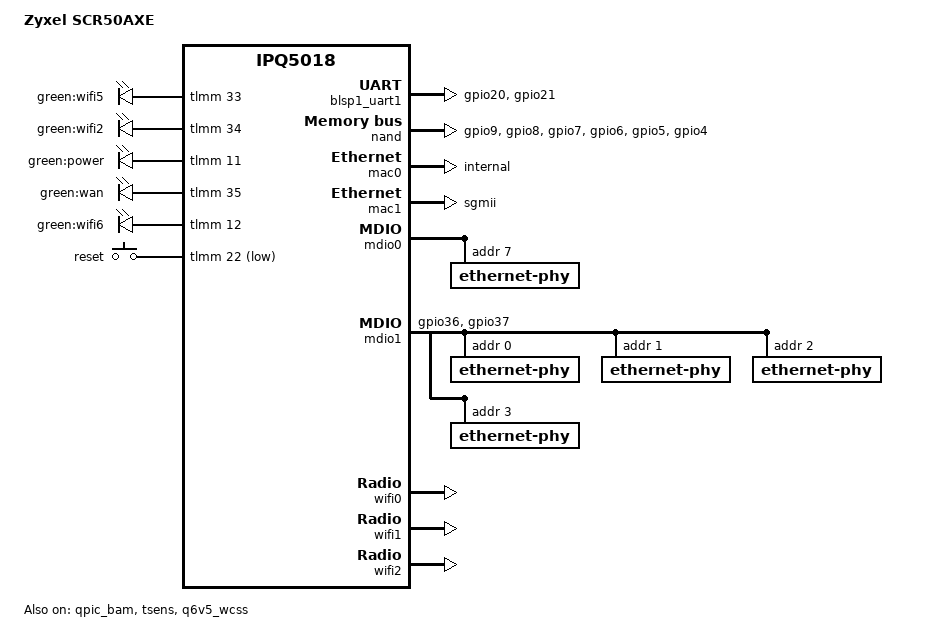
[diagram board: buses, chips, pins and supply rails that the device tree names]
// SPDX-License-Identifier: (GPL-2.0+)

/dts-v1/;

#include "ipq5018.dtsi"

/ {
	model = "Zyxel SCR50AXE";
	compatible = "zyxel,scr50axe", "qcom,ipq5018";

	#address-cells = <2>;
	#size-cells = <2>;
	interrupt-parent = <&intc>;

	aliases {
		serial0 = &blsp1_uart1;

		ethernet0 = &mac0;
		ethernet1 = &mac1;

		led-boot = &led_power_green;
		led-failsafe = &led_power_green;
		led-running = &led_power_green;
		led-upgrade = &led_power_green;
	};

	chosen {
		// Override the root parameter from u-boot
		// Increase coherent_pool size for WiFi
		bootargs-append = " root=/dev/ubiblock0_1 coherent_pool=2M";
		stdout-path = "serial0:115200n8";
	};

	reserved-memory {
		q6_mem_regions: q6_mem_regions@4B000000 {
			no-map;
			reg = <0x0 0x4B000000 0x0 0x5400000>;
		};

		q6_code_data: q6_code_data@4B000000 {
			no-map;
			reg = <0x0 0x4B000000 0x0 01400000>;
		};

		q6_ipq5018_data: q6_ipq5018_data@4C400000 {
			no-map;
			reg = <0x0 0x4C400000 0x0 0xE00000>;
		};

		m3_dump: m3_dump@4D200000 {
			no-map;
			reg = <0x0 0x4D200000 0x0 0x100000>;
		};

		q6_etr_region: q6_etr_dump@4D300000 {
			no-map;
			reg = <0x0 0x4D300000 0x0 0x100000>;
		};

		q6_caldb_region: q6_caldb_region@4D400000 {
			no-map;
			reg = <0x0 0x4D400000 0x0 0x200000>;
		};

		q6_qcn6122_data1: q6_qcn6122_data1@4D600000 {
			no-map;
			reg = <0x0 0x4D600000 0x0 0x1000000>;
		};

		m3_dump_qcn6122_1: m3_dump_qcn6122_1@4E600000 {
			no-map;
			reg = <0x0 0x4E600000 0x0 0x100000>;
		};

		q6_qcn6122_etr_1: q6_qcn6122_etr_1@4E700000 {
			no-map;
			reg = <0x0 0x4E700000 0x0 0x100000>;
		};

		q6_qcn6122_caldb_1: q6_qcn6122_caldb_1@4E800000 {
			no-map;
			reg = <0x0 0x4E800000 0x0 0x500000>;
		};

		q6_qcn6122_data2: q6_qcn6122_data2@4E900000 {
			no-map;
			reg = <0x0 0x4ED00000 0x0 0x1000000>;
		};

		m3_dump_qcn6122_2: m3_dump_qcn6122_2@4FD00000 {
			no-map;
			reg = <0x0 0x4FD00000 0x0 0x100000>;
		};

		q6_qcn6122_etr_2: q6_qcn6122_etr_2@4FE00000 {
			no-map;
			reg = <0x0 0x4FE00000 0x0 0x100000>;
		};

		q6_qcn6122_caldb_2: q6_qcn6122_caldb_2@4FF00000 {
			no-map;
			reg = <0x0 0x4FF00000 0x0 0x500000>;
		};
	};

	thermal-zones {
		status = "ok";
	};
};

&tmc_etr {
	/delete-property/ memory-region;
};

&tlmm {
	blsp_uart0_pins: blsp_uart0_pins {
		pins =
			"gpio20", // RX
			"gpio21"; // TX
		function = "blsp0_uart1";
		drive-strength = <8>;
		bias-disable;
	};

	qspi_nand_pins: qspi_nand_pins {
		clock {
			pins = "gpio9";
			function = "qspi_clk";
			drive-strength = <8>;
			bias-disable;
		};

		cs {
			pins = "gpio8";
			function = "qspi_cs";
			drive-strength = <8>;
			bias-disable;
		};

		data {
			pins = "gpio7", "gpio6", "gpio5", "gpio4";
			function = "qspi_data";
			drive-strength = <8>;
			bias-disable;
		};
	};

	mdio1_pins: mdio1_pins {
		mdc {
			pins = "gpio36";
			function = "mdc";
			drive-strength = <8>;
			bias-pull-up;
		};

		mdio {
			pins = "gpio37";
			function = "mdio";
			drive-strength = <8>;
			bias-pull-up;
		};
	};

	leds_pins: leds_pins {
		led_5g {
			pins = "gpio33";
			function = "gpio";
			drive-strength = <8>;
			bias-pull-down;
		};
		led_2g {
			pins = "gpio34";
			function = "gpio";
			drive-strength = <8>;
			bias-pull-down;
		};
		led_power {
			pins = "gpio11";
			function = "gpio";
			drive-strength = <8>;
			bias-pull-down;
		};
		led_6g {
			pins = "gpio12";
			function = "gpio";
			drive-strength = <8>;
			bias-pull-down;
		};
		led_wan {
			pins = "gpio35";
			function = "gpio";
			drive-strength = <8>;
			bias-pull-down;
		};
	};

	button_pins: button_pins {
		button_reset {
			pins = "gpio22";
			function = "gpio";
			drive-strength = <8>;
			bias-pull-up;
		};
	};
};

&blsp1_uart1 {
	pinctrl-0 = <&blsp_uart0_pins>;
	pinctrl-names = "default";
	status = "ok";
};

&qpic_bam {
	status = "ok";
};

&nand {
	pinctrl-0 = <&qspi_nand_pins>;
	pinctrl-names = "default";
	status = "ok";
};

&tsens {
	status = "ok";
};

&soc {
	leds {
		compatible = "gpio-leds";
		pinctrl-0 = <&leds_pins>;
		pinctrl-names = "default";

		led@33 {
			label = "green:wifi5";
			gpios = <&tlmm 33 GPIO_ACTIVE_HIGH>;
		};

		led@34 {
			label = "green:wifi2";
			gpios = <&tlmm 34 GPIO_ACTIVE_HIGH>;
		};

		led_power_green: led_power_green {
			label = "green:power";
			gpios = <&tlmm 11 GPIO_ACTIVE_HIGH>;
		};

		led@35 {
			label = "green:wan";
			gpios = <&tlmm 35 GPIO_ACTIVE_HIGH>;
		};

		led@12 {
			label = "green:wifi6";
			gpios = <&tlmm 12 GPIO_ACTIVE_HIGH>;
			default-state = "off";
		};
	};

	button {
		compatible = "gpio-keys";
		pinctrl-0 = <&button_pins>;
		pinctrl-names = "default";

		button_reset {
			label = "reset";
			gpios = <&tlmm 22 GPIO_ACTIVE_LOW>;
			linux,input-type = <EV_KEY>;
			linux,code = <KEY_RESTART>;
			debounce-interval = <60>;
		};
	};

	ess-instance {
		num_devices = <0x2>;
		ess-switch@0x39c00000 {
			compatible = "qcom,ess-switch-ipq50xx";
			device_id = <0>;
			switch_mac_mode = <0xf>; /* mac mode for uniphy instance*/
			cmnblk_clk = "internal_96MHz"; /* cmnblk clk*/
			qcom,port_phyinfo {
				port@0 {
					port_id = <1>;
					phy_address = <7>;
				};
				port@1 {
					port_id = <2>;
					forced-speed = <1000>;
					forced-duplex = <1>;
				};
			};
		};
		ess-switch1@1 {
			compatible = "qcom,ess-switch-qca83xx";
			device_id = <1>;
			switch_access_mode = "mdio";
			mdio-bus = <&mdio1>;
			reset_gpio = <&tlmm 0x27 0>;
			switch_cpu_bmp = <0x40>;  /* cpu port bitmap */
			switch_lan_bmp = <0x1e>; /* lan port bitmap */
			switch_wan_bmp = <0x0>;  /* wan port bitmap */
			qca,ar8327-initvals = <
					0x00004 0x7600000   /* PAD0_MODE */
					0x00008 0x1000000   /* PAD5_MODE */
					0x0000c 0x80	/* PAD6_MODE */
					0x00010 0x2613a0    /* PORT6 FORCE MODE*/
					0x000e4 0xaa545     /* MAC_POWER_SEL */
					0x000e0 0xc74164de  /* SGMII_CTRL */
					0x0007c 0x4e	/* PORT0_STATUS */
					0x00094 0x4e	/* PORT6_STATUS */
			>;
			qcom,port_phyinfo {
				port@0 {
					port_id = <1>;
					phy_address = <0>;
				};
				port@1 {
					port_id = <2>;
					phy_address = <1>;
				};
				port@2 {
					port_id = <3>;
					phy_address = <2>;
				};
				port@3 {
					port_id = <4>;
					phy_address = <3>;
				};
			};
		};
	};

	// MAC0 -> GE Phy
	mac0: dp1 {
		compatible = "qcom,nss-dp";
		device_type = "network";
		qcom,id = <1>;

		reg = <0x39C00000 0x10000>;
		interrupts = <GIC_SPI 101 IRQ_TYPE_LEVEL_HIGH>;
		clocks = <&gcc GCC_SNOC_GMAC0_AXI_CLK>;
		clock-names = "nss-snoc-gmac-axi-clk";

		qcom,mactype = <2>; // GMAC_HAL_TYPE_SYN_GMAC
		local-mac-address = [000000000000];
		mdio-bus = <&mdio0>;
		qcom,phy-mdio-addr = <7>;
		phy-mode = "internal";
		qcom,link-poll = <1>;
	};

	// MAC1 ---SGMII---> QCA8337 SerDes
	mac1: dp2 {
		compatible = "qcom,nss-dp";
		device_type = "network";
		qcom,id = <2>;

		reg = <0x39D00000 0x10000>;
		interrupts = <GIC_SPI 109 IRQ_TYPE_LEVEL_HIGH>;
		clocks = <&gcc GCC_SNOC_GMAC1_AXI_CLK>;
		clock-names = "nss-snoc-gmac-axi-clk";

		qcom,mactype = <2>; // GMAC_HAL_TYPE_SYN_GMAC
		local-mac-address = [000000000000];
		phy-mode = "sgmii";
	};
};

&mdio0 {
	status = "ok";

	// IPQ5018 GE Phy -> QCA8337 Phy4
	ethernet-phy@0 {
		reg = <7>;
	};
};

&mdio1 {
	pinctrl-0 = <&mdio1_pins>;
	pinctrl-names = "default";
	phy-reset-gpio = <&tlmm 39 0>;
	status = "ok";

	// QCA8337 Phy0 -> LAN1
	ethernet-phy@0 {
		reg = <0>;
	};

	// QCA8337 Phy1 -> LAN2
	ethernet-phy@1 {
		reg = <1>;
	};

	// QCA8337 Phy2 -> LAN3
	ethernet-phy@2 {
		reg = <2>;
	};

	// QCA8337 Phy3 -> LAN4
	ethernet-phy@3 {
		reg = <3>;
	};
};

&q6v5_wcss {
	compatible = "qcom,ipq5018-q6-mpd";
	#address-cells = <1>;
	#size-cells = <1>;
	ranges;
	firmware = "IPQ5018/q6_fw.mdt";
	reg = <0x0cd00000 0x4040>,
		<0x1938000 0x8>,
		<0x193d204 0x4>;
	reg-names = "qdsp6",
			"tcsr-msip",
			"tcsr-q6";
	resets = <&gcc GCC_WCSSAON_RESET>,
			<&gcc GCC_WCSS_Q6_BCR>;

	reset-names = "wcss_aon_reset",
			"wcss_q6_reset";

	clocks = <&gcc GCC_Q6_AXIS_CLK>,
		<&gcc GCC_WCSS_ECAHB_CLK>,
		<&gcc GCC_Q6_AXIM_CLK>,
		<&gcc GCC_Q6_AXIM2_CLK>,
		<&gcc GCC_Q6_AHB_CLK>,
		<&gcc GCC_Q6_AHB_S_CLK>,
		<&gcc GCC_WCSS_AXI_S_CLK>;
	clock-names = "gcc_q6_axis_clk",
		"gcc_wcss_ecahb_clk",
		"gcc_q6_axim_clk",
		"gcc_q6_axim2_clk",
		"gcc_q6_ahb_clk",
		"gcc_q6_ahb_s_clk",
		"gcc_wcss_axi_s_clk";

	#ifdef __IPQ_MEM_PROFILE_256_MB__
		memory-region = <&q6_mem_regions>, <&q6_etr_region>;
	#else
		memory-region = <&q6_mem_regions>, <&q6_etr_region>,
				<&q6_caldb_region>;
	#endif

	qcom,rproc = <&q6v5_wcss>;
	qcom,bootargs_smem = <507>;
	boot-args = <0x1 0x4 0x3 0x0F 0x0 0x0>,
			<0x2 0x4 0x2 0x12 0x0 0x0>;
	status = "ok";
	q6_wcss_pd1: remoteproc_pd1@4ab000 {
		compatible = "qcom,ipq5018-wcss-ahb-mpd";
		reg = <0x4ab000 0x20>;
		reg-names = "rmb";
		firmware = "IPQ5018/q6_fw.mdt";
		m3_firmware = "IPQ5018/m3_fw.mdt";
		interrupts-extended = <&wcss_smp2p_in 8 0>,
					<&wcss_smp2p_in 9 0>,
					<&wcss_smp2p_in 12 0>,
					<&wcss_smp2p_in 11 0>;
		interrupt-names = "fatal",
					"ready",
					"spawn-ack",
					"stop-ack";

		resets = <&gcc GCC_WCSSAON_RESET>,
				<&gcc GCC_WCSS_BCR>,
				<&gcc GCC_CE_BCR>;
		reset-names = "wcss_aon_reset",
				"wcss_reset",
				"ce_reset";

		clocks = <&gcc GCC_WCSS_AHB_S_CLK>,
				<&gcc GCC_WCSS_ACMT_CLK>,
				<&gcc GCC_WCSS_AXI_M_CLK>;
		clock-names = "gcc_wcss_ahb_s_clk",
					"gcc_wcss_acmt_clk",
					"gcc_wcss_axi_m_clk";

		qcom,halt-regs = <&tcsr_q6_block 0xa000 0xd000 0x0>;

		qcom,smem-states = <&wcss_smp2p_out 8>,
					<&wcss_smp2p_out 9>,
					<&wcss_smp2p_out 10>;
		qcom,smem-state-names = "shutdown",
					"stop",
					"spawn";
	#ifdef __IPQ_MEM_PROFILE_256_MB__
		memory-region = <&q6_ipq5018_data>, <&m3_dump>,
				<&q6_etr_region>;
	#else
		memory-region = <&q6_ipq5018_data>, <&m3_dump>,
				<&q6_etr_region>, <&q6_caldb_region>;
	#endif

	};

	q6_wcss_pd2: remoteproc_pd2 {
		compatible = "qcom,ipq5018-wcss-pcie-mpd";
		firmware = "IPQ5018/q6_fw.mdt";
		m3_firmware = "qcn6122/m3_fw.mdt";
		interrupts-extended = <&wcss_smp2p_in 16 0>,
					<&wcss_smp2p_in 17 0>,
					<&wcss_smp2p_in 20 0>,
					<&wcss_smp2p_in 19 0>;
		interrupt-names = "fatal",
					"ready",
					"spawn-ack",
					"stop-ack";

		qcom,smem-states = <&wcss_smp2p_out 16>,
					<&wcss_smp2p_out 17>,
					<&wcss_smp2p_out 18>;
		qcom,smem-state-names = "shutdown",
					"stop",
					"spawn";
	#ifdef __IPQ_MEM_PROFILE_256_MB__
		memory-region = <&q6_qcn6122_data1>, <&m3_dump_qcn6122_1>,
				<&q6_qcn6122_etr_1>;
	#else
		memory-region = <&q6_qcn6122_data1>, <&m3_dump_qcn6122_1>,
				<&q6_qcn6122_etr_1>, <&q6_qcn6122_caldb_1>;
	#endif

	};

	q6_wcss_pd3: remoteproc_pd3 {
		compatible = "qcom,ipq5018-wcss-pcie-mpd";
		firmware = "IPQ5018/q6_fw.mdt";
		interrupts-extended = <&wcss_smp2p_in 24 0>,
					<&wcss_smp2p_in 25 0>,
					<&wcss_smp2p_in 28 0>,
					<&wcss_smp2p_in 27 0>;
		interrupt-names = "fatal",
					"ready",
					"spawn-ack",
					"stop-ack";

		qcom,smem-states = <&wcss_smp2p_out 24>,
					<&wcss_smp2p_out 25>,
					<&wcss_smp2p_out 26>;
		qcom,smem-state-names = "shutdown",
					"stop",
					"spawn";
	#ifdef	__IPQ_MEM_PROFILE_256_MB__
		memory-region = <&q6_qcn6122_data2>, <&m3_dump_qcn6122_2>,
				<&q6_qcn6122_etr_2>;
	#else
		memory-region = <&q6_qcn6122_data2>, <&m3_dump_qcn6122_2>,
				<&q6_qcn6122_etr_2>, <&q6_qcn6122_caldb_2>;
	#endif
	};
};

&wifi0 {
	/* IPQ5018 */
	qcom,multipd_arch;
	qcom,rproc = <&q6_wcss_pd1>;
	qcom,userpd-subsys-name = "q6v5_wcss_userpd1";
#ifdef __IPQ_MEM_PROFILE_256_MB__
	qcom,tgt-mem-mode = <2>;
#else
	qcom,tgt-mem-mode = <1>;
#endif
	qcom,board_id = <0x23>;
	qcom,bdf-addr = <0x4C400000 0x4C400000 0x4C400000 0x0 0x0>;
#ifdef __CNSS2__
	qcom,caldb-addr = <0x4D400000 0x4D400000 0 0 0>;
#else
	qcom,caldb-addr = <0x4D400000>;
	m3-dump-addr = <0x4D200000>;
#endif
	qcom,caldb-size = <0x200000>;
	mem-region = <&q6_ipq5018_data>;
	status = "ok";
};

&wifi1 {
	/* QCN6122 5G */
	qcom,multipd_arch;
	qcom,userpd-subsys-name = "q6v5_wcss_userpd2";
	qcom,rproc = <&q6_wcss_pd2>;
#ifdef __IPQ_MEM_PROFILE_256_MB__
	qcom,tgt-mem-mode = <2>;
#else
	qcom,tgt-mem-mode = <1>;
#endif
	qcom,board_id = <0x60>;
	qcom,bdf-addr = <0x4D600000 0x4D600000 0x4D300000 0x0 0x0>;
#ifdef __CNSS2__
	qcom,caldb-addr = <0x4E800000 0x4E800000 0 0 0>;
#else
	qcom,caldb-addr = <0x4E800000>;
	m3-dump-addr = <0x4E600000>;
#endif
	qcom,caldb-size = <0x500000>;
	mem-region = <&q6_qcn6122_data1>;
	status = "ok";
};

&wifi2 {
	/* QCN6122 6G */
	qcom,multipd_arch;
	qcom,userpd-subsys-name = "q6v5_wcss_userpd3";
	qcom,rproc = <&q6_wcss_pd3>;
#ifdef __IPQ_MEM_PROFILE_256_MB__
	qcom,tgt-mem-mode = <2>;
#else
	qcom,tgt-mem-mode = <1>;
#endif
	qcom,board_id = <0xb0>;
	qcom,bdf-addr = <0x4ED00000 0x4ED00000 0x4E200000 0x0 0x0>;
#ifdef __CNSS2__
	qcom,caldb-addr = <0x4FF00000 0x4FF00000 0 0 0>;
#else
	qcom,caldb-addr = <0x4FF00000>;
	m3-dump-addr = <0x4FD00000>;
#endif
	qcom,caldb-size = <0x500000>;
	mem-region = <&q6_qcn6122_data2>;
	status = "ok";
};
